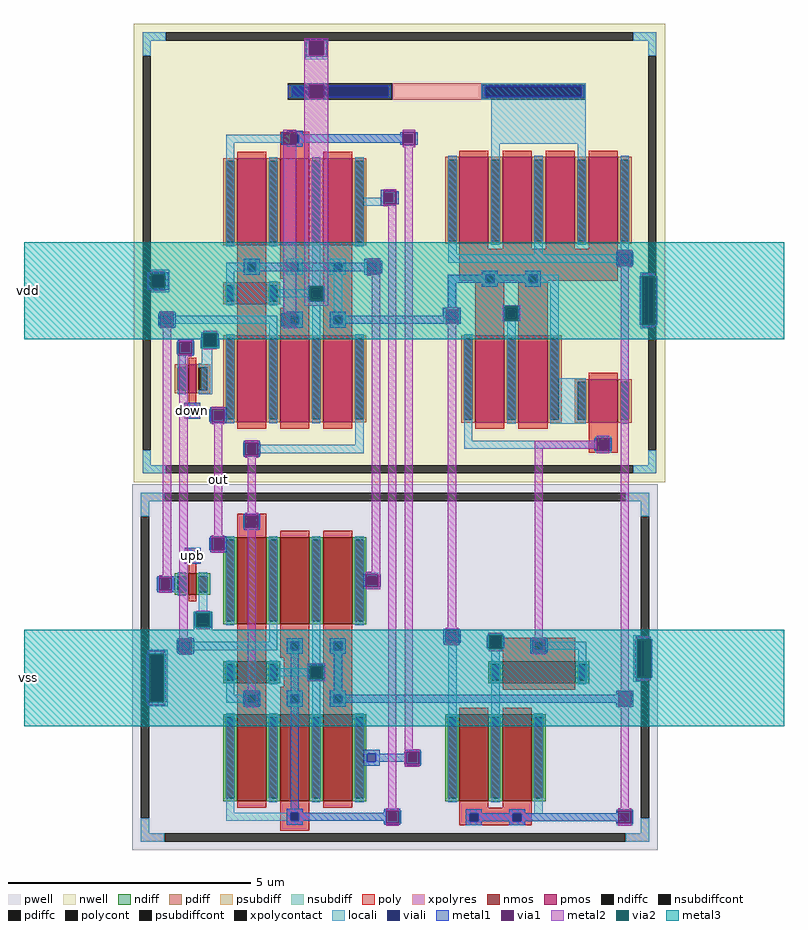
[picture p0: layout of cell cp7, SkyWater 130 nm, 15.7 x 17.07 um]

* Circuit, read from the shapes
.subckt cp7 vss upb down out
XM1 vss upb XM5/d vss sky130_fd_pr__nfet_01v8 w=0.45 l=0.15
XM2 XM4/d XM11/d XM16/d vss sky130_fd_pr__nfet_01v8 w=1.8 l=0.6
XM3 vss XM11/d XM11/d vss sky130_fd_pr__nfet_01v8 w=0.45 l=0.6
XM4 XM1/d XM11/d out vss sky130_fd_pr__nfet_01v8 w=1.8 l=0.6
XM5 vss XM16/d XM4/d vss sky130_fd_pr__nfet_01v8 w=1.8 l=0.6
XM6 vss XM16/d XM1/d vss sky130_fd_pr__nfet_01v8 w=1.8 l=0.6
XM7 XM15/d XM14/g vss vss sky130_fd_pr__nfet_01v8 w=1.8 l=0.6
XM8 XM12/d XM14/g vss vss sky130_fd_pr__nfet_01v8 w=1.8 l=0.6
XM9 vss XM14/g XM13/g vss sky130_fd_pr__nfet_01v8 w=1.8 l=0.6
XM10 XM14/g XM14/g vss vss sky130_fd_pr__nfet_01v8 w=1.8 l=0.6
XM11 x2/XM5/d x2/XM5/d vss vss sky130_fd_pr__nfet_01v8 w=0.45 l=1.5
XM12 vdd down XM1/d vdd sky130_fd_pr__pfet_01v8 w=0.6 l=0.15
XM13 XM5/d XM12/d out vdd sky130_fd_pr__pfet_01v8 w=1.8 l=0.6
XM14 vdd XM12/d XM12/d vdd sky130_fd_pr__pfet_01v8 w=0.45 l=0.6
XM15 XM9/d XM12/d XM15/d vdd sky130_fd_pr__pfet_01v8 w=1.8 l=0.6
XM16 vdd XM15/d XM5/d vdd sky130_fd_pr__pfet_01v8 w=1.8 l=0.6
XM17 vdd XM15/d XM9/d vdd sky130_fd_pr__pfet_01v8 w=1.8 l=0.6
XM18 XM11/d XM13/g vdd vdd sky130_fd_pr__pfet_01v8 w=1.8 l=0.6
XM19 XM16/d XM13/g vdd vdd sky130_fd_pr__pfet_01v8 w=1.8 l=0.6
XM20 x2/XR1/r0 XM13/g XM14/g vdd sky130_fd_pr__pfet_01v8 w=1.8 l=0.6 m=4
XM21 vdd XM13/g x2/XM5/d vdd sky130_fd_pr__pfet_01v8 w=1.8 l=0.6
XM22 XM13/g XM13/g vdd vdd sky130_fd_pr__pfet_01v8 w=1.8 l=0.6
XM23 XM14/g x2/XM5/d XM13/g vdd sky130_fd_pr__pfet_01v8 w=0.9 l=0.6
XR24 x2/XR1/r0 vdd vss sky130_fd_pr__res_xhigh_po w=0.35 l=1.84
.ends

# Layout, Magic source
magic
tech sky130A
magscale 1 2
<< nwell >>
rect -546 709 1649 2603
<< pwell >>
rect -553 -812 1619 701
<< psubdiff >>
rect -517 631 -421 665
rect 1487 631 1583 665
rect -517 569 -483 631
rect 1549 569 1583 631
rect -517 -742 -483 -680
rect 1549 -742 1583 -680
rect -517 -776 -421 -742
rect 1487 -776 1583 -742
<< nsubdiff >>
rect -510 2533 -414 2567
rect 1517 2533 1613 2567
rect -510 2471 -476 2533
rect 1579 2471 1613 2533
rect -510 779 -476 841
rect 1579 779 1613 841
rect -510 745 -414 779
rect 1517 745 1613 779
<< psubdiffcont >>
rect -421 631 1487 665
rect -517 -680 -483 569
rect 1549 -680 1583 569
rect -421 -776 1487 -742
<< nsubdiffcont >>
rect -414 2533 1517 2567
rect -510 841 -476 2471
rect 1579 841 1613 2471
rect -414 745 1517 779
<< poly >>
rect 59 2145 179 2156
rect 59 2111 102 2145
rect 136 2111 179 2145
rect -119 1615 1 2048
rect -119 1581 -76 1615
rect -42 1581 1 1615
rect -319 1036 -289 1196
rect -337 1020 -271 1036
rect -337 986 -321 1020
rect -287 986 -271 1020
rect -337 970 -271 986
rect -119 930 1 1581
rect 59 1615 179 2111
rect 59 1581 102 1615
rect 136 1581 179 1615
rect 59 1549 179 1581
rect 74 1429 179 1549
rect 59 1397 179 1429
rect 59 1363 102 1397
rect 136 1363 179 1397
rect 59 930 179 1363
rect 237 1615 357 2048
rect 237 1581 280 1615
rect 314 1581 357 1615
rect 237 1397 357 1581
rect 237 1363 280 1397
rect 314 1363 357 1397
rect 237 956 357 1363
rect -119 563 1 579
rect -119 529 -76 563
rect -42 529 1 563
rect -335 421 -269 437
rect -335 387 -319 421
rect -285 387 -269 421
rect -335 371 -269 387
rect -319 243 -289 371
rect -119 -169 1 529
rect 59 49 179 482
rect 59 15 102 49
rect 136 15 179 49
rect 59 -17 179 15
rect 74 -137 179 -17
rect -119 -203 -76 -169
rect -42 -203 1 -169
rect -119 -636 1 -203
rect 59 -169 179 -137
rect 59 -203 102 -169
rect 136 -203 179 -169
rect 59 -657 179 -203
rect 237 49 357 482
rect 237 15 280 49
rect 314 15 357 49
rect 237 -169 357 15
rect 237 -203 280 -169
rect 314 -203 357 -169
rect 237 -610 357 -203
rect 59 -691 102 -657
rect 136 -691 179 -657
rect 59 -731 179 -691
<< polycont >>
rect 102 2111 136 2145
rect -76 1581 -42 1615
rect -321 986 -287 1020
rect 102 1581 136 1615
rect 102 1363 136 1397
rect 280 1581 314 1615
rect 280 1363 314 1397
rect -76 529 -42 563
rect -319 387 -285 421
rect 102 15 136 49
rect -76 -203 -42 -169
rect 102 -203 136 -169
rect 280 15 314 49
rect 280 -203 314 -169
rect 102 -691 136 -657
<< locali >>
rect -510 2533 -414 2567
rect 1517 2533 1613 2567
rect -510 2471 -476 2533
rect 162 2473 178 2533
rect 238 2473 254 2533
rect 162 2457 254 2473
rect 1579 2471 1613 2533
rect 86 2146 152 2161
rect 86 2145 573 2146
rect -165 2111 102 2145
rect 136 2111 573 2145
rect -165 1700 -131 2111
rect 86 2095 152 2111
rect 13 1700 47 2036
rect -92 1615 -26 1631
rect -476 1570 -400 1586
rect -416 1510 -400 1570
rect -476 1494 -400 1510
rect -165 1581 -76 1615
rect -42 1581 -26 1615
rect -165 1456 -131 1581
rect -92 1565 -26 1581
rect 86 1615 152 1631
rect 86 1581 102 1615
rect 136 1581 152 1615
rect 86 1565 152 1581
rect 13 1506 47 1522
rect 191 1521 225 2036
rect 369 1885 403 2036
rect 473 1901 539 1917
rect 473 1885 489 1901
rect 369 1867 489 1885
rect 523 1867 539 1901
rect 369 1851 539 1867
rect 369 1700 403 1851
rect 264 1615 330 1631
rect 264 1581 280 1615
rect 314 1581 330 1615
rect 264 1565 330 1581
rect 405 1615 471 1631
rect 405 1581 421 1615
rect 455 1581 471 1615
rect 405 1565 471 1581
rect 175 1506 241 1521
rect 13 1505 241 1506
rect 13 1472 191 1505
rect 13 1456 47 1472
rect 175 1471 191 1472
rect 225 1471 241 1505
rect 175 1455 241 1471
rect -442 1397 -376 1413
rect 86 1397 152 1413
rect -442 1363 -426 1397
rect -392 1363 47 1397
rect -442 1347 -376 1363
rect -265 1313 -199 1329
rect -365 1281 -299 1297
rect -365 1247 -349 1281
rect -315 1247 -299 1281
rect -365 1231 -299 1247
rect -265 1279 -249 1313
rect -215 1279 -199 1313
rect -265 1263 -199 1279
rect -365 1088 -331 1231
rect -265 1072 -222 1263
rect -337 1020 -271 1036
rect -337 986 -321 1020
rect -287 986 -271 1020
rect -165 1018 -131 1304
rect -337 970 -271 986
rect -231 1002 -131 1018
rect -231 968 -215 1002
rect -181 968 -131 1002
rect 13 968 47 1363
rect 86 1363 102 1397
rect 136 1363 152 1397
rect 86 1347 152 1363
rect 191 968 225 1455
rect 280 1413 314 1565
rect 1547 1560 1579 1576
rect 981 1423 1047 1439
rect 264 1397 330 1413
rect 264 1363 280 1397
rect 314 1363 330 1397
rect 981 1389 997 1423
rect 1031 1389 1047 1423
rect 981 1373 1047 1389
rect 264 1347 330 1363
rect -231 952 -131 968
rect -510 779 -476 841
rect -92 863 -26 879
rect 369 863 403 1320
rect 997 1319 1031 1373
rect 1547 1360 1563 1560
rect 1547 1344 1579 1360
rect -92 829 -76 863
rect -42 829 403 863
rect -92 813 -26 829
rect 1579 779 1613 841
rect -510 745 -414 779
rect 1517 745 1613 779
rect -517 631 -421 665
rect 1487 631 1583 665
rect -517 569 -483 631
rect -92 563 -26 579
rect -92 529 -76 563
rect -42 529 -26 563
rect -92 513 -26 529
rect 1549 569 1583 631
rect -231 470 -131 486
rect -335 421 -269 437
rect -335 387 -319 421
rect -285 387 -269 421
rect -231 436 -215 470
rect -181 436 -131 470
rect -231 420 -131 436
rect -335 371 -269 387
rect -449 305 -331 321
rect -449 271 -433 305
rect -399 271 -331 305
rect -449 255 -331 271
rect -277 173 -243 337
rect -293 157 -227 173
rect -293 123 -277 157
rect -243 123 -227 157
rect -165 134 -131 420
rect -293 107 -227 123
rect -365 49 -299 65
rect 13 49 47 470
rect -483 0 -407 16
rect -423 -200 -407 0
rect -365 15 -349 49
rect -315 15 47 49
rect 86 49 152 65
rect 86 15 102 49
rect 136 15 152 49
rect -365 -1 -299 15
rect 86 -1 152 15
rect -483 -216 -407 -200
rect -165 -169 -131 -44
rect 13 -60 47 -44
rect 191 -60 225 470
rect 369 335 403 486
rect 369 319 471 335
rect 369 285 421 319
rect 455 285 471 319
rect 369 269 471 285
rect 369 118 403 269
rect 915 66 981 82
rect 264 49 330 65
rect 264 15 280 49
rect 314 15 330 49
rect 915 32 931 66
rect 965 32 981 66
rect 915 16 981 32
rect 1517 60 1549 76
rect 264 -1 330 15
rect 13 -94 191 -60
rect 13 -110 47 -94
rect -92 -169 -26 -153
rect -165 -203 -76 -169
rect -42 -203 -26 -169
rect -92 -219 -26 -203
rect 86 -169 152 -153
rect 86 -203 102 -169
rect 136 -203 152 -169
rect 86 -219 152 -203
rect -517 -742 -483 -680
rect -165 -657 -131 -262
rect 13 -598 47 -262
rect 191 -598 225 -94
rect 280 -153 314 -1
rect 931 -110 965 16
rect 1517 -100 1533 60
rect 1517 -116 1549 -100
rect 264 -169 330 -153
rect 264 -203 280 -169
rect 314 -203 330 -169
rect 264 -219 330 -203
rect 369 -397 403 -246
rect 369 -413 469 -397
rect 369 -447 419 -413
rect 453 -447 469 -413
rect 369 -463 469 -447
rect 573 -413 639 -397
rect 573 -447 589 -413
rect 623 -447 639 -413
rect 573 -463 639 -447
rect 369 -614 403 -463
rect 86 -657 152 -641
rect 489 -657 555 -641
rect -165 -691 102 -657
rect 136 -691 505 -657
rect 539 -691 555 -657
rect 86 -707 152 -691
rect 489 -707 555 -691
rect 1449 -708 1515 -642
rect 1549 -742 1583 -680
rect -517 -776 -421 -742
rect 1487 -776 1583 -742
<< viali >>
rect 178 2473 238 2533
rect 102 2111 136 2145
rect 573 2111 607 2146
rect -476 1510 -416 1570
rect -76 1581 -42 1615
rect 489 1867 523 1901
rect 421 1581 455 1615
rect 191 1471 225 1505
rect -426 1363 -392 1397
rect -349 1247 -315 1281
rect -249 1279 -215 1313
rect -321 986 -287 1020
rect -215 968 -181 1002
rect 102 1363 136 1397
rect 908 1532 942 1566
rect 1086 1532 1120 1566
rect 280 1363 314 1397
rect 997 1389 1031 1423
rect 1563 1360 1579 1560
rect 1579 1360 1597 1560
rect -76 829 -42 863
rect -76 529 -42 563
rect -319 387 -285 421
rect -215 436 -181 470
rect -433 271 -399 305
rect -277 123 -243 157
rect -483 -200 -423 0
rect -349 15 -315 49
rect 102 15 136 49
rect 421 285 455 319
rect 280 15 314 49
rect 931 32 965 66
rect 191 -94 225 -60
rect -76 -203 -42 -169
rect 102 -203 136 -169
rect 1533 -100 1549 60
rect 1549 -100 1567 60
rect 280 -203 314 -169
rect 419 -447 453 -413
rect 589 -447 623 -413
rect 102 -691 136 -657
rect 505 -691 539 -657
rect 842 -692 876 -658
rect 1020 -692 1054 -658
<< metal1 >>
rect 166 2533 250 2539
rect 166 2473 178 2533
rect 238 2473 250 2533
rect 166 2467 250 2473
rect 158 2351 258 2358
rect 158 2348 178 2351
rect 89 2298 178 2348
rect 158 2295 178 2298
rect 238 2295 258 2351
rect 158 2288 258 2295
rect 86 2154 152 2161
rect 567 2155 613 2158
rect 62 2102 72 2154
rect 124 2146 152 2154
rect 554 2146 564 2155
rect 124 2145 564 2146
rect 136 2111 564 2145
rect 124 2102 152 2111
rect 554 2102 564 2111
rect 616 2102 626 2155
rect 86 2095 152 2102
rect 567 2099 613 2102
rect 473 1910 539 1917
rect 473 1858 487 1910
rect 539 1858 549 1910
rect 473 1851 539 1858
rect -92 1615 -26 1631
rect 405 1624 471 1631
rect 405 1615 419 1624
rect -92 1581 -76 1615
rect -42 1581 419 1615
rect -488 1570 -404 1576
rect -488 1510 -476 1570
rect -416 1510 -404 1570
rect -92 1565 -26 1581
rect 405 1572 419 1581
rect 471 1572 481 1624
rect 405 1565 471 1572
rect 892 1566 958 1582
rect 1070 1566 1136 1582
rect 751 1532 908 1566
rect 942 1532 1086 1566
rect 1120 1532 1136 1566
rect 1557 1560 1603 1572
rect -488 1504 -404 1510
rect 175 1514 241 1521
rect 175 1462 182 1514
rect 234 1462 241 1514
rect 175 1455 241 1462
rect 751 1429 785 1532
rect 892 1516 958 1532
rect 1070 1516 1136 1532
rect 981 1432 1047 1439
rect -442 1406 -376 1413
rect 86 1406 152 1413
rect -445 1354 -435 1406
rect -383 1354 -373 1406
rect 62 1354 72 1406
rect 124 1397 152 1406
rect 136 1363 152 1397
rect 124 1354 152 1363
rect -442 1347 -376 1354
rect 86 1347 152 1354
rect 264 1397 330 1413
rect 731 1397 804 1429
rect 264 1363 280 1397
rect 314 1363 804 1397
rect 981 1380 988 1432
rect 1040 1380 1047 1432
rect 981 1373 1047 1380
rect 264 1347 330 1363
rect 1544 1360 1554 1560
rect 1606 1360 1616 1560
rect 1557 1348 1603 1360
rect -365 1290 -299 1297
rect -368 1238 -358 1290
rect -306 1238 -296 1290
rect -268 1270 -258 1322
rect -206 1270 -196 1322
rect -365 1231 -299 1238
rect -337 1020 -271 1036
rect -337 986 -321 1020
rect -287 986 -271 1020
rect -231 1011 -165 1018
rect -337 970 -271 986
rect -234 959 -224 1011
rect -172 959 -162 1011
rect -231 952 -165 959
rect -92 872 -26 879
rect -95 820 -85 872
rect -33 820 -23 872
rect -92 813 -26 820
rect -92 572 -26 579
rect -95 520 -85 572
rect -33 520 -23 572
rect -92 513 -26 520
rect -231 479 -165 486
rect -335 421 -269 437
rect -234 427 -224 479
rect -172 427 -162 479
rect -335 387 -319 421
rect -285 387 -269 421
rect -231 420 -165 427
rect -335 371 -269 387
rect -449 314 -383 321
rect -452 262 -442 314
rect -390 262 -380 314
rect 402 276 412 328
rect 464 276 474 328
rect -449 255 -383 262
rect -293 166 -227 173
rect -296 114 -286 166
rect -234 114 -224 166
rect -293 107 -227 114
rect -365 58 -299 65
rect -489 0 -417 12
rect -368 6 -358 58
rect -306 6 -296 58
rect 86 49 152 65
rect 86 15 102 49
rect 136 15 152 49
rect -493 -200 -483 0
rect -423 -200 -413 0
rect -365 -1 -299 6
rect 86 -1 152 15
rect 264 49 330 65
rect 264 15 280 49
rect 314 15 330 49
rect 912 23 922 75
rect 974 23 984 75
rect 1527 60 1573 72
rect 264 -1 330 15
rect 102 -153 136 -1
rect 175 -51 241 -44
rect 175 -103 182 -51
rect 234 -103 241 -51
rect 175 -110 241 -103
rect 280 -153 314 -1
rect 1523 -100 1533 60
rect 1585 -100 1595 60
rect 1527 -112 1573 -100
rect -92 -160 -26 -153
rect -489 -212 -417 -200
rect -95 -212 -85 -160
rect -33 -212 -23 -160
rect 86 -169 152 -153
rect 86 -203 102 -169
rect 136 -203 152 -169
rect -92 -219 -26 -212
rect 86 -219 152 -203
rect 264 -169 330 -153
rect 1446 -160 1518 -153
rect 1446 -169 1456 -160
rect 264 -203 280 -169
rect 314 -203 1456 -169
rect 264 -219 330 -203
rect 1446 -212 1456 -203
rect 1508 -212 1518 -160
rect 1446 -219 1518 -212
rect 102 -641 136 -219
rect 403 -413 469 -397
rect 573 -404 639 -397
rect 570 -413 580 -404
rect 403 -447 419 -413
rect 453 -447 580 -413
rect 403 -463 469 -447
rect 570 -456 580 -447
rect 632 -456 642 -404
rect 573 -463 639 -456
rect 86 -657 152 -641
rect 489 -648 555 -641
rect 486 -657 496 -648
rect 86 -691 102 -657
rect 136 -691 496 -657
rect 86 -707 152 -691
rect 486 -701 496 -691
rect 548 -701 558 -648
rect 826 -658 892 -642
rect 1004 -658 1070 -642
rect 826 -692 842 -658
rect 876 -692 1020 -658
rect 1054 -692 1499 -658
rect 489 -707 555 -701
rect 826 -708 892 -692
rect 1004 -708 1070 -692
<< via1 >>
rect 178 2473 238 2533
rect 178 2295 238 2351
rect 72 2145 124 2154
rect 564 2146 616 2155
rect 72 2111 102 2145
rect 102 2111 124 2145
rect 564 2111 573 2146
rect 573 2111 607 2146
rect 607 2111 616 2146
rect 72 2102 124 2111
rect 564 2102 616 2111
rect 487 1901 539 1910
rect 487 1867 489 1901
rect 489 1867 523 1901
rect 523 1867 539 1901
rect 487 1858 539 1867
rect 419 1615 471 1624
rect 419 1581 421 1615
rect 421 1581 455 1615
rect 455 1581 471 1615
rect -476 1510 -416 1570
rect 419 1572 471 1581
rect 182 1505 234 1514
rect 182 1471 191 1505
rect 191 1471 225 1505
rect 225 1471 234 1505
rect 182 1462 234 1471
rect -435 1397 -383 1406
rect -435 1363 -426 1397
rect -426 1363 -392 1397
rect -392 1363 -383 1397
rect -435 1354 -383 1363
rect 72 1397 124 1406
rect 72 1363 102 1397
rect 102 1363 124 1397
rect 72 1354 124 1363
rect 988 1423 1040 1432
rect 988 1389 997 1423
rect 997 1389 1031 1423
rect 1031 1389 1040 1423
rect 988 1380 1040 1389
rect 1554 1360 1563 1560
rect 1563 1360 1597 1560
rect 1597 1360 1606 1560
rect -358 1281 -306 1290
rect -358 1247 -349 1281
rect -349 1247 -315 1281
rect -315 1247 -306 1281
rect -358 1238 -306 1247
rect -258 1313 -206 1322
rect -258 1279 -249 1313
rect -249 1279 -215 1313
rect -215 1279 -206 1313
rect -258 1270 -206 1279
rect -224 1002 -172 1011
rect -224 968 -215 1002
rect -215 968 -181 1002
rect -181 968 -172 1002
rect -224 959 -172 968
rect -85 863 -33 872
rect -85 829 -76 863
rect -76 829 -42 863
rect -42 829 -33 863
rect -85 820 -33 829
rect -85 563 -33 572
rect -85 529 -76 563
rect -76 529 -42 563
rect -42 529 -33 563
rect -85 520 -33 529
rect -224 470 -172 479
rect -224 436 -215 470
rect -215 436 -181 470
rect -181 436 -172 470
rect -224 427 -172 436
rect -442 305 -390 314
rect -442 271 -433 305
rect -433 271 -399 305
rect -399 271 -390 305
rect -442 262 -390 271
rect 412 319 464 328
rect 412 285 421 319
rect 421 285 455 319
rect 455 285 464 319
rect 412 276 464 285
rect -286 157 -234 166
rect -286 123 -277 157
rect -277 123 -243 157
rect -243 123 -234 157
rect -286 114 -234 123
rect -358 49 -306 58
rect -358 15 -349 49
rect -349 15 -315 49
rect -315 15 -306 49
rect -358 6 -306 15
rect -483 -200 -423 0
rect 922 66 974 75
rect 922 32 931 66
rect 931 32 965 66
rect 965 32 974 66
rect 922 23 974 32
rect 182 -60 234 -51
rect 182 -94 191 -60
rect 191 -94 225 -60
rect 225 -94 234 -60
rect 182 -103 234 -94
rect 1533 -100 1567 60
rect 1567 -100 1585 60
rect -85 -169 -33 -160
rect -85 -203 -76 -169
rect -76 -203 -42 -169
rect -42 -203 -33 -169
rect -85 -212 -33 -203
rect 1456 -212 1508 -160
rect 580 -413 632 -404
rect 580 -447 589 -413
rect 589 -447 623 -413
rect 623 -447 632 -413
rect 580 -456 632 -447
rect 496 -657 548 -648
rect 496 -691 505 -657
rect 505 -691 539 -657
rect 539 -691 548 -657
rect 496 -701 548 -691
<< metal2 >>
rect 158 2533 258 2543
rect 158 2473 178 2533
rect 238 2473 258 2533
rect 158 2351 258 2473
rect 158 2295 178 2351
rect 238 2295 258 2351
rect 72 2154 124 2164
rect -476 1570 -416 1580
rect -476 1500 -416 1510
rect -435 1406 -383 1416
rect -435 1344 -383 1354
rect 72 1406 124 2102
rect 158 1516 258 2295
rect 564 2155 616 2165
rect 564 2092 616 2102
rect 487 1910 539 1920
rect 487 1848 539 1858
rect 419 1624 471 1634
rect 419 1562 471 1572
rect 158 1460 180 1516
rect 236 1460 258 1516
rect 158 1438 258 1460
rect 72 1344 124 1354
rect -426 324 -392 1344
rect -260 1324 -204 1334
rect -358 1290 -306 1300
rect -260 1258 -204 1268
rect -358 1228 -306 1238
rect -442 314 -390 324
rect -442 252 -390 262
rect -358 68 -324 1228
rect -224 1011 -172 1021
rect -224 949 -172 959
rect -215 489 -181 949
rect -85 872 -33 882
rect -85 810 -33 820
rect -76 582 -42 810
rect -85 572 -33 582
rect -85 510 -33 520
rect -224 479 -172 489
rect -224 417 -172 427
rect -288 168 -232 178
rect -288 102 -232 112
rect -358 58 -306 68
rect -483 0 -423 10
rect -358 -4 -306 6
rect -76 -150 -42 510
rect 437 338 471 1562
rect 412 328 471 338
rect 464 276 471 328
rect 412 266 471 276
rect 171 -49 245 -40
rect 171 -105 180 -49
rect 236 -105 245 -49
rect 171 -114 245 -105
rect -483 -210 -423 -200
rect -85 -160 -33 -150
rect -85 -222 -33 -212
rect 505 -638 539 1848
rect 573 -394 607 2092
rect 1552 1560 1608 1570
rect 977 1434 1051 1439
rect 977 1378 986 1434
rect 1042 1378 1051 1434
rect 977 1373 1051 1378
rect 1552 1350 1608 1360
rect 920 77 976 87
rect 920 11 976 21
rect 1533 60 1589 70
rect 1533 -110 1589 -100
rect 1456 -160 1508 -150
rect 1456 -222 1508 -212
rect 573 -404 632 -394
rect 573 -456 580 -404
rect 573 -466 632 -456
rect 496 -648 548 -638
rect 496 -711 548 -701
<< via2 >>
rect -476 1510 -416 1570
rect 180 1514 236 1516
rect 180 1462 182 1514
rect 182 1462 234 1514
rect 234 1462 236 1514
rect 180 1460 236 1462
rect -260 1322 -204 1324
rect -260 1270 -258 1322
rect -258 1270 -206 1322
rect -206 1270 -204 1322
rect -260 1268 -204 1270
rect -288 166 -232 168
rect -288 114 -286 166
rect -286 114 -234 166
rect -234 114 -232 166
rect -288 112 -232 114
rect -483 -200 -423 0
rect 180 -51 236 -49
rect 180 -103 182 -51
rect 182 -103 234 -51
rect 234 -103 236 -51
rect 180 -105 236 -103
rect 986 1432 1042 1434
rect 986 1380 988 1432
rect 988 1380 1040 1432
rect 1040 1380 1042 1432
rect 986 1378 1042 1380
rect 1552 1360 1554 1560
rect 1554 1360 1606 1560
rect 1606 1360 1608 1560
rect 920 75 976 77
rect 920 23 922 75
rect 922 23 974 75
rect 974 23 976 75
rect 920 21 976 23
rect 1533 -100 1585 60
rect 1585 -100 1589 60
<< metal3 >>
rect -1000 1570 2140 1700
rect -1000 1510 -476 1570
rect -416 1560 2140 1570
rect -416 1516 1552 1560
rect -416 1510 180 1516
rect -1000 1460 180 1510
rect 236 1460 1552 1516
rect -1000 1434 1552 1460
rect -1000 1378 986 1434
rect 1042 1378 1552 1434
rect -1000 1360 1552 1378
rect 1608 1360 2140 1560
rect -1000 1324 2140 1360
rect -1000 1300 -260 1324
rect -270 1268 -260 1300
rect -204 1300 2140 1324
rect -204 1268 -194 1300
rect -270 1263 -194 1268
rect -298 168 -222 173
rect -298 112 -288 168
rect -232 112 -222 168
rect -298 100 -222 112
rect -1000 77 2140 100
rect -1000 21 920 77
rect 976 60 2140 77
rect 976 21 1533 60
rect -1000 0 1533 21
rect -1000 -200 -483 0
rect -423 -49 1533 0
rect -423 -105 180 -49
rect 236 -100 1533 -49
rect 1589 -100 2140 60
rect 236 -105 2140 -100
rect -423 -200 2140 -105
rect -1000 -300 2140 -200
use bias2  x2
transform 1 0 939 0 1 633
box -902 -1344 608 1777
use sky130_fd_pr__nfet_01v8_ZJWC73  XM1
transform 1 0 119 0 -1 302
box -118 -206 118 206
use sky130_fd_pr__nfet_01v8_ZJWC73  XM2
transform 1 0 -59 0 -1 302
box -118 -206 118 206
use sky130_fd_pr__nfet_01v8_ZJWC73  XM3
transform 1 0 -59 0 -1 -430
box -118 -206 118 206
use sky130_fd_pr__nfet_01v8_ZJWC73  XM4
transform 1 0 119 0 -1 -430
box -118 -206 118 206
use sky130_fd_pr__nfet_01v8_PU4Y8N  XM5
transform 1 0 -304 0 1 288
box -73 -71 73 71
use sky130_fd_pr__pfet_01v8_AH2TBC  XM6
transform 1 0 119 0 1 1136
box -154 -242 154 242
use sky130_fd_pr__pfet_01v8_AH2TBC  XM7
transform 1 0 -59 0 1 1868
box -154 -242 154 242
use sky130_fd_pr__pfet_01v8_AH2TBC  XM8
transform 1 0 -59 0 1 1136
box -154 -242 154 242
use sky130_fd_pr__pfet_01v8_AH2TBC  XM9
transform 1 0 119 0 1 1868
box -154 -242 154 242
use sky130_fd_pr__pfet_01v8_58PGBE  XM10
transform 1 0 -304 0 1 1136
box -109 -122 109 122
use sky130_fd_pr__nfet_01v8_4NLQMD  XM11
transform 1 0 -59 0 1 -77
box -118 -71 118 71
use sky130_fd_pr__pfet_01v8_W2SF2B  XM12
transform 1 0 -59 0 1 1489
box -154 -107 154 107
use sky130_fd_pr__pfet_01v8_AH2TBC  XM13
transform -1 0 297 0 1 1136
box -154 -242 154 242
use sky130_fd_pr__nfet_01v8_ZJWC73  XM14
transform -1 0 297 0 1 302
box -118 -206 118 206
use sky130_fd_pr__nfet_01v8_ZJWC73  XM15
transform -1 0 297 0 1 -430
box -118 -206 118 206
use sky130_fd_pr__pfet_01v8_AH2TBC  XM16
transform -1 0 297 0 1 1868
box -154 -242 154 242
<< labels >>
flabel metal3 -1000 1482 -966 1518 0 FreeSans 320 0 0 0 vdd
flabel metal3 -1000 -118 -966 -82 0 FreeSans 320 0 0 0 vss
port 1 nsew
flabel metal1 -319 387 -285 421 0 FreeSans 320 0 0 0 upb
port 2 nsew
flabel metal1 -321 986 -287 1020 0 FreeSans 320 0 0 0 down
port 3 nsew
flabel metal2 -215 702 -181 736 0 FreeSans 320 0 0 0 out
port 4 nsew
<< end >>

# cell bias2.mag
magic
tech sky130A
magscale 1 2
<< poly >>
rect -140 1040 -20 1446
rect 38 1040 158 1446
rect 216 1040 336 1446
rect 394 1040 514 1446
rect -140 933 514 1040
rect -140 909 -31 933
rect -74 899 -31 909
rect 3 909 147 933
rect 3 899 46 909
rect -74 296 46 899
rect 104 899 147 909
rect 181 909 514 933
rect 181 899 224 909
rect 104 322 224 899
rect 394 248 514 502
rect 394 214 437 248
rect 471 214 514 248
rect 394 198 514 214
rect 38 -583 338 -567
rect 38 -617 171 -583
rect 205 -617 338 -583
rect 38 -781 338 -617
rect -140 -1269 -20 -883
rect 38 -1269 158 -883
rect -140 -1291 158 -1269
rect -140 -1325 -97 -1291
rect -63 -1325 81 -1291
rect 115 -1325 158 -1291
rect -140 -1341 158 -1325
<< polycont >>
rect -31 899 3 933
rect 147 899 181 933
rect 437 214 471 248
rect 171 -617 205 -583
rect -97 -1325 -63 -1291
rect 81 -1325 115 -1291
<< locali >>
rect -50 1655 382 1725
rect -8 1474 382 1655
rect -186 1017 -152 1424
rect -8 1056 26 1474
rect 170 1017 204 1424
rect 348 1056 382 1474
rect 526 1033 560 1424
rect 510 1017 576 1033
rect -186 983 526 1017
rect 560 983 576 1017
rect 510 967 576 983
rect -47 933 19 949
rect 131 933 197 949
rect -188 899 -31 933
rect 3 899 147 933
rect 181 899 270 933
rect -188 796 -154 899
rect -47 883 19 899
rect 131 883 197 899
rect -204 780 -138 796
rect -204 746 -188 780
rect -154 746 -138 780
rect -204 730 -138 746
rect -120 248 -86 686
rect 58 334 92 670
rect 236 506 270 899
rect 236 318 382 506
rect 526 334 560 967
rect 421 248 487 264
rect -120 214 437 248
rect 471 214 487 248
rect 421 198 487 214
rect -204 -545 -138 -529
rect -204 -579 -188 -545
rect -154 -579 -138 -545
rect -204 -595 -138 -579
rect 155 -583 221 -567
rect -186 -1247 -152 -595
rect 155 -617 171 -583
rect 205 -617 384 -583
rect 155 -633 221 -617
rect -8 -1247 26 -661
rect 350 -759 384 -617
rect -113 -1291 -47 -1275
rect 65 -1291 131 -1275
rect 170 -1291 204 -895
rect -113 -1325 -97 -1291
rect -63 -1325 81 -1291
rect 115 -1325 526 -1291
rect -113 -1341 -47 -1325
rect 65 -1341 131 -1325
<< viali >>
rect 526 983 560 1017
rect -188 746 -154 780
rect 437 214 471 248
rect -188 -579 -154 -545
rect 171 -617 205 -583
rect 526 -1325 560 -1291
<< metal1 >>
rect -850 1671 -816 1705
rect 510 1026 576 1033
rect 507 974 517 1026
rect 569 974 579 1026
rect 510 967 576 974
rect -207 789 -135 796
rect -207 737 -197 789
rect -145 737 -135 789
rect -204 730 -138 737
rect 418 205 428 257
rect 480 205 490 257
rect -204 -536 -138 -529
rect -207 -588 -197 -536
rect -145 -588 -135 -536
rect 155 -574 221 -567
rect -204 -595 -138 -588
rect 152 -626 162 -574
rect 214 -626 224 -574
rect 155 -633 221 -626
rect 507 -836 541 -802
rect 507 -1334 517 -1282
rect 569 -1334 579 -1282
<< via1 >>
rect 517 1017 569 1026
rect 517 983 526 1017
rect 526 983 560 1017
rect 560 983 569 1017
rect 517 974 569 983
rect -197 780 -145 789
rect -197 746 -188 780
rect -188 746 -154 780
rect -154 746 -145 780
rect -197 737 -145 746
rect 428 248 480 257
rect 428 214 437 248
rect 437 214 471 248
rect 471 214 480 248
rect 428 205 480 214
rect -197 -545 -145 -536
rect -197 -579 -188 -545
rect -188 -579 -154 -545
rect -154 -579 -145 -545
rect -197 -588 -145 -579
rect 162 -583 214 -574
rect 162 -617 171 -583
rect 171 -617 205 -583
rect 205 -617 214 -583
rect 162 -626 214 -617
rect 517 -1291 569 -1282
rect 517 -1325 526 -1291
rect 526 -1325 560 -1291
rect 560 -1325 569 -1291
rect 517 -1334 569 -1325
<< metal2 >>
rect 517 1026 569 1036
rect 517 964 569 974
rect -197 789 -145 799
rect -197 727 -145 737
rect -188 -526 -154 727
rect 428 257 480 267
rect 171 214 428 248
rect -197 -536 -145 -526
rect 171 -564 205 214
rect 428 195 480 205
rect -197 -598 -145 -588
rect 162 -574 214 -564
rect 162 -636 214 -626
rect 526 -1272 560 964
rect 517 -1282 569 -1272
rect 517 -1344 569 -1334
use sky130_fd_pr__nfet_01v8_ZJWC73  XM1
transform 1 0 -80 0 1 -1063
box -118 -206 118 206
use sky130_fd_pr__nfet_01v8_ZJWC73  XM2
transform -1 0 98 0 1 -1063
box -118 -206 118 206
use sky130_fd_pr__pfet_01v8_AH2TBC  XM3
transform -1 0 164 0 1 502
box -154 -242 154 242
use sky130_fd_pr__pfet_01v8_AH6ZBC  XM4
transform 1 0 187 0 1 1240
box -421 -242 421 242
use sky130_fd_pr__pfet_01v8_AH2TBC  XM5
transform 1 0 -14 0 -1 502
box -154 -242 154 242
use sky130_fd_pr__nfet_01v8_HE5L4J  XM6
transform -1 0 188 0 1 -710
box -208 -71 208 71
use sky130_fd_pr__pfet_01v8_EP2VBC  XM7
transform -1 0 454 0 1 412
box -154 -152 154 152
use sky130_fd_pr__res_xhigh_po_0p35_QBQWER  XR1 $PDKPATH/libs.tech/magic
transform 0 1 -234 -1 0 1690
box -87 -668 87 668
<< labels >>
flabel metal1 -850 1671 -816 1705 0 FreeSans 256 0 0 0 vdd
port 0 nsew
flabel metal1 -193 770 -159 771 0 FreeSans 256 0 0 0 vpb
port 2 nsew
flabel locali -8 -710 26 -676 0 FreeSans 256 0 0 0 vss
port 3 nsew
flabel metal1 507 -836 541 -802 0 FreeSans 240 0 0 0 vnb
port 4 nsew
<< end >>

# cell sky130_fd_pr__nfet_01v8_ZJWC73: kit device sky130_fd_pr__nfet_01v8, w 1.8 l 0.6 m 1 nf 1 diffcov 100 polycov 100 guard 0 glc 0 grc 0 gtc 0 gbc 0 tbcov 100 rlcov 100 topc 0 botc 0 poverlap 0 doverlap 1 lmin 0.15 wmin 0.42 compatible {sky130_fd_pr__nfet_01v8 sky130_fd_pr__nfet_01v8_lvt sky130_fd_bs_flash__special_sonosfet_star sky130_fd_pr__nfet_g5v0d10v5 sky130_fd_pr__nfet_05v0_nvt sky130_fd_pr__nfet_03v3_nvt} full_metal 1 viasrc 100 viadrn 100 viagate 100 viagb 0 viagr 0 viagl 0 viagt 0

# cell sky130_fd_pr__nfet_01v8_PU4Y8N: kit device sky130_fd_pr__nfet_01v8, w 0.45 l 0.15 m 1 nf 1 diffcov 100 polycov 100 guard 0 glc 0 grc 0 gtc 0 gbc 0 tbcov 100 rlcov 100 topc 0 botc 0 poverlap 0 doverlap 1 lmin 0.15 wmin 0.42 compatible {sky130_fd_pr__nfet_01v8 sky130_fd_pr__nfet_01v8_lvt sky130_fd_bs_flash__special_sonosfet_star sky130_fd_pr__nfet_g5v0d10v5 sky130_fd_pr__nfet_05v0_nvt sky130_fd_pr__nfet_03v3_nvt} full_metal 1 viasrc 100 viadrn 100 viagate 100 viagb 0 viagr 0 viagl 0 viagt 0

# cell sky130_fd_pr__pfet_01v8_AH2TBC: kit device sky130_fd_pr__pfet_01v8, w 1.8 l 0.6 m 1 nf 1 diffcov 100 polycov 100 guard 0 glc 0 grc 0 gtc 0 gbc 0 tbcov 100 rlcov 100 topc 0 botc 0 poverlap 0 doverlap 1 lmin 0.15 wmin 0.42 compatible {sky130_fd_pr__pfet_01v8 sky130_fd_pr__pfet_01v8_lvt sky130_fd_pr__pfet_01v8_hvt sky130_fd_pr__pfet_g5v0d10v5} full_metal 1 viasrc 100 viadrn 100 viagate 100 viagb 0 viagr 0 viagl 0 viagt 0

# cell sky130_fd_pr__pfet_01v8_58PGBE: kit device sky130_fd_pr__pfet_01v8, w 0.6 l 0.15 m 1 nf 1 diffcov 100 polycov 100 guard 0 glc 0 grc 0 gtc 0 gbc 0 tbcov 100 rlcov 100 topc 0 botc 0 poverlap 0 doverlap 1 lmin 0.15 wmin 0.42 compatible {sky130_fd_pr__pfet_01v8 sky130_fd_pr__pfet_01v8_lvt sky130_fd_pr__pfet_01v8_hvt sky130_fd_pr__pfet_g5v0d10v5} full_metal 1 viasrc 100 viadrn 100 viagate 100 viagb 0 viagr 0 viagl 0 viagt 0

# cell sky130_fd_pr__nfet_01v8_4NLQMD: kit device sky130_fd_pr__nfet_01v8, w 0.45 l 0.6 m 1 nf 1 diffcov 100 polycov 100 guard 0 glc 0 grc 0 gtc 0 gbc 0 tbcov 100 rlcov 100 topc 0 botc 0 poverlap 0 doverlap 1 lmin 0.15 wmin 0.42 compatible {sky130_fd_pr__nfet_01v8 sky130_fd_pr__nfet_01v8_lvt sky130_fd_bs_flash__special_sonosfet_star sky130_fd_pr__nfet_g5v0d10v5 sky130_fd_pr__nfet_05v0_nvt sky130_fd_pr__nfet_03v3_nvt} full_metal 1 viasrc 100 viadrn 100 viagate 100 viagb 0 viagr 0 viagl 0 viagt 0

# cell sky130_fd_pr__pfet_01v8_W2SF2B: kit device sky130_fd_pr__pfet_01v8, w 0.45 l 0.6 m 1 nf 1 diffcov 100 polycov 100 guard 0 glc 0 grc 0 gtc 0 gbc 0 tbcov 100 rlcov 100 topc 0 botc 0 poverlap 0 doverlap 1 lmin 0.15 wmin 0.42 compatible {sky130_fd_pr__pfet_01v8 sky130_fd_pr__pfet_01v8_lvt sky130_fd_pr__pfet_01v8_hvt sky130_fd_pr__pfet_g5v0d10v5} full_metal 1 viasrc 100 viadrn 100 viagate 100 viagb 0 viagr 0 viagl 0 viagt 0

# cell sky130_fd_pr__pfet_01v8_AH6ZBC: kit device sky130_fd_pr__pfet_01v8, w 1.8 l 0.6 m 1 nf 4 diffcov 100 polycov 100 guard 0 glc 0 grc 0 gtc 0 gbc 0 tbcov 100 rlcov 100 topc 0 botc 0 poverlap 0 doverlap 1 lmin 0.15 wmin 0.42 compatible {sky130_fd_pr__pfet_01v8 sky130_fd_pr__pfet_01v8_lvt sky130_fd_pr__pfet_01v8_hvt sky130_fd_pr__pfet_g5v0d10v5} full_metal 1 viasrc 100 viadrn 100 viagate 100 viagb 0 viagr 0 viagl 0 viagt 0

# cell sky130_fd_pr__nfet_01v8_HE5L4J: kit device sky130_fd_pr__nfet_01v8, w 0.45 l 1.5 m 1 nf 1 diffcov 100 polycov 100 guard 0 glc 0 grc 0 gtc 0 gbc 0 tbcov 100 rlcov 100 topc 0 botc 0 poverlap 0 doverlap 1 lmin 0.15 wmin 0.42 compatible {sky130_fd_pr__nfet_01v8 sky130_fd_pr__nfet_01v8_lvt sky130_fd_bs_flash__special_sonosfet_star sky130_fd_pr__nfet_g5v0d10v5 sky130_fd_pr__nfet_05v0_nvt sky130_fd_pr__nfet_03v3_nvt} full_metal 1 viasrc 100 viadrn 100 viagate 100 viagb 0 viagr 0 viagl 0 viagt 0

# cell sky130_fd_pr__pfet_01v8_EP2VBC: kit device sky130_fd_pr__pfet_01v8, w 0.9 l 0.6 m 1 nf 1 diffcov 100 polycov 100 guard 0 glc 0 grc 0 gtc 0 gbc 0 tbcov 100 rlcov 100 topc 0 botc 0 poverlap 0 doverlap 1 lmin 0.15 wmin 0.42 compatible {sky130_fd_pr__pfet_01v8 sky130_fd_pr__pfet_01v8_lvt sky130_fd_pr__pfet_01v8_hvt sky130_fd_pr__pfet_g5v0d10v5} full_metal 1 viasrc 100 viadrn 100 viagate 100 viagb 0 viagr 0 viagl 0 viagt 0

# cell sky130_fd_pr__res_xhigh_po_0p35_QBQWER: kit device sky130_fd_pr__res_xhigh_po_0p35, w 0.350 l 2 m 1 nx 1 wmin 0.350 lmin 0.50 rho 2000 val 12.504k dummy 0 dw 0.0 term 188.2 sterm 0.0 caplen 0 wmax 0.350 guard 0 glc 0 grc 0 gtc 0 gbc 0 compatible {sky130_fd_pr__res_xhigh_po_0p35 sky130_fd_pr__res_xhigh_po_0p69 sky130_fd_pr__res_xhigh_po_1p41 sky130_fd_pr__res_xhigh_po_2p85 sky130_fd_pr__res_xhigh_po_5p73} snake 0 full_metal 0 n_guard 0 hv_guard 0 vias 1 viagb 0 viagt 0 viagl 0 viagr 0
